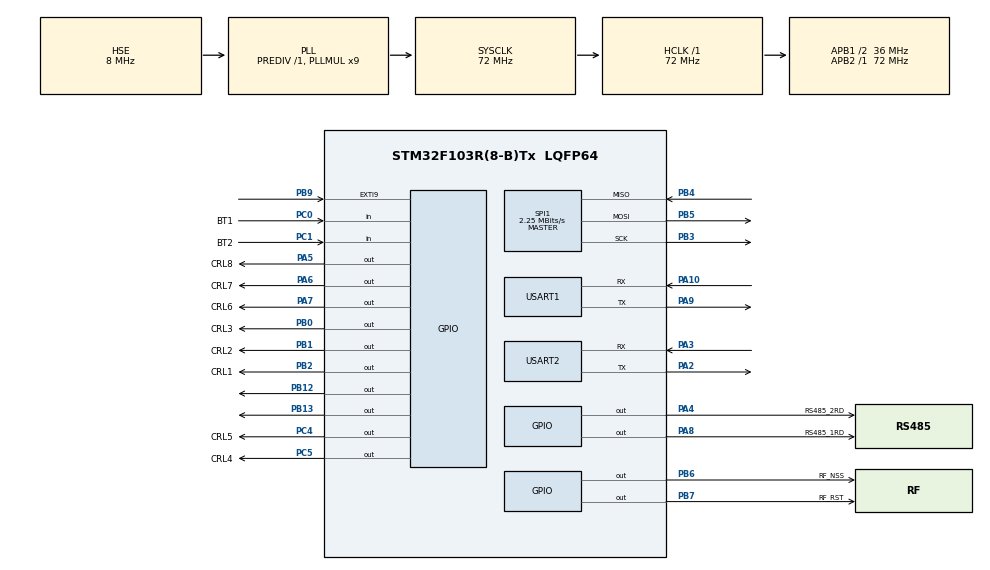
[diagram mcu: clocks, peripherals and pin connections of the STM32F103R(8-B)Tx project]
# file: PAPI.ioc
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Dma.Request0=USART2_RX
Dma.Request1=USART1_RX
Dma.USART1_RX.1.Direction=DMA_PERIPH_TO_MEMORY
Dma.USART1_RX.1.Instance=DMA1_Channel5
Dma.USART1_RX.1.MemDataAlignment=DMA_MDATAALIGN_BYTE
Dma.USART1_RX.1.MemInc=DMA_MINC_ENABLE
Dma.USART1_RX.1.Mode=DMA_NORMAL
Dma.USART1_RX.1.PeriphDataAlignment=DMA_PDATAALIGN_BYTE
Dma.USART1_RX.1.PeriphInc=DMA_PINC_DISABLE
Dma.USART1_RX.1.Priority=DMA_PRIORITY_LOW
Dma.USART2_RX.0.Direction=DMA_PERIPH_TO_MEMORY
Dma.USART2_RX.0.Instance=DMA1_Channel6
Dma.USART2_RX.0.MemDataAlignment=DMA_MDATAALIGN_BYTE
Dma.USART2_RX.0.MemInc=DMA_MINC_ENABLE
Dma.USART2_RX.0.Mode=DMA_NORMAL
Dma.USART2_RX.0.PeriphDataAlignment=DMA_PDATAALIGN_BYTE
Dma.USART2_RX.0.PeriphInc=DMA_PINC_DISABLE
Dma.USART2_RX.0.Priority=DMA_PRIORITY_LOW
Mcu.Family=STM32F1
Mcu.Name=STM32F103R(8-B)Tx
Mcu.Package=LQFP64
NVIC.DMA1_Channel5_IRQn=true\:0\:0\:false\:false\:true\:true
NVIC.DMA1_Channel6_IRQn=true\:0\:0\:false\:false\:true\:true
NVIC.PriorityGroup=NVIC_PRIORITYGROUP_4
NVIC.TIM1_BRK_IRQn=true\:0\:0\:false\:false\:true\:true
NVIC.TIM1_CC_IRQn=true\:0\:0\:false\:false\:true\:true
NVIC.TIM1_TRG_COM_IRQn=true\:0\:0\:false\:false\:true\:true
NVIC.TIM1_UP_IRQn=true\:0\:0\:false\:false\:true\:true
NVIC.TIM3_IRQn=true\:0\:0\:false\:false\:true\:true
NVIC.USART1_IRQn=true\:0\:0\:false\:false\:true\:true
NVIC.USART2_IRQn=true\:0\:0\:false\:false\:true\:true
PA10.Mode=Asynchronous
PA10.Signal=USART1_RX
PA13.Mode=Serial_Wire
PA13.Signal=SYS_JTMS-SWDIO
PA14.Mode=Serial_Wire
PA14.Signal=SYS_JTCK-SWCLK
PA2.Mode=Asynchronous
PA2.Signal=USART2_TX
PA3.Mode=Asynchronous
PA3.Signal=USART2_RX
PA4.GPIO_Label=RS485_2RD
PA4.Signal=GPIO_Output
PA5.GPIO_Label=CRL8
PA5.Signal=GPIO_Output
PA6.GPIO_Label=CRL7
PA6.Signal=GPIO_Output
PA7.GPIO_Label=CRL6
PA7.Signal=GPIO_Output
PA8.GPIO_Label=RS485_1RD
PA8.Signal=GPIO_Output
PA9.Mode=Asynchronous
PA9.Signal=USART1_TX
PB0.GPIO_Label=CRL3
PB0.Signal=GPIO_Output
PB1.GPIO_Label=CRL2
PB1.Signal=GPIO_Output
PB12.Signal=GPIO_Output
PB13.Signal=GPIO_Output
PB2.GPIO_Label=CRL1
PB2.Signal=GPIO_Output
PB3.Mode=Full_Duplex_Master
PB3.Signal=SPI1_SCK
PB4.Mode=Full_Duplex_Master
PB4.Signal=SPI1_MISO
PB5.Mode=Full_Duplex_Master
PB5.Signal=SPI1_MOSI
PB6.GPIO_Label=RF_NSS
PB6.Signal=GPIO_Output
PB7.GPIO_Label=RF_RST
PB7.Signal=GPIO_Output
PB9.Signal=GPXTI9
PC0.GPIO_Label=BT1
PC0.Signal=GPIO_Input
PC1.GPIO_Label=BT2
PC1.Signal=GPIO_Input
PC4.GPIO_Label=CRL5
PC4.Signal=GPIO_Output
PC5.GPIO_Label=CRL4
PC5.Signal=GPIO_Output
PD0-OSC_IN.Mode=HSE-External-Oscillator
PD0-OSC_IN.Signal=RCC_OSC_IN
PD1-OSC_OUT.Mode=HSE-External-Oscillator
PD1-OSC_OUT.Signal=RCC_OSC_OUT
ProjectManager.HeapSize=0x200
ProjectManager.StackSize=0x400
ProjectManager.TargetToolchain=MDK-ARM V5
RCC.AHBFreq_Value=72000000
RCC.APB1CLKDivider=RCC_HCLK_DIV2
RCC.APB1Freq_Value=36000000
RCC.APB1TimFreq_Value=72000000
RCC.APB2Freq_Value=72000000
RCC.APB2TimFreq_Value=72000000
RCC.HCLKFreq_Value=72000000
RCC.PLLMUL=RCC_PLL_MUL9
RCC.PLLSourceVirtual=RCC_PLLSOURCE_HSE
RCC.SYSCLKFreq_VALUE=72000000
RCC.SYSCLKSource=RCC_SYSCLKSOURCE_PLLCLK
RCC.USBFreq_Value=72000000
SPI1.BaudRatePrescaler=SPI_BAUDRATEPRESCALER_32
SPI1.CalculateBaudRate=2.25 MBits/s
SPI1.Direction=SPI_DIRECTION_2LINES
SPI1.Mode=SPI_MODE_MASTER
SPI1.VirtualType=VM_MASTER
TIM1.AutoReloadPreload=TIM_AUTORELOAD_PRELOAD_ENABLE
TIM1.ClockDivision=TIM_CLOCKDIVISION_DIV1
TIM1.Period=1000
TIM1.Prescaler=32000
TIM1.TIM_MasterOutputTrigger=TIM_TRGO_ENABLE
TIM3.Period=1000
TIM3.Prescaler=32000
USART1.VirtualMode=VM_ASYNC
USART2.VirtualMode=VM_ASYNC
VP_TIM1_VS_ClockSourceINT.Mode=Internal
VP_TIM3_VS_ClockSourceINT.Mode=Internal
board=PAPI

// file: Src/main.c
/**
  ******************************************************************************
  * File Name          : main.c
  * Description        : Main program body
  ******************************************************************************
  ** This notice applies to any and all portions of this file
  * that are not between comment pairs USER CODE BEGIN and
  * USER CODE END. Other portions of this file, whether
  * inserted by the user or by software development tools
  * are owned by their respective copyright owners.
  *
  * COPYRIGHT(c) 2017 STMicroelectronics
  *
  * Redistribution and use in source and binary forms, with or without modification,
  * are permitted provided that the following conditions are met:
  *   1. Redistributions of source code must retain the above copyright notice,
  *      this list of conditions and the following disclaimer.
  *   2. Redistributions in binary form must reproduce the above copyright notice,
  *      this list of conditions and the following disclaimer in the documentation
  *      and/or other materials provided with the distribution.
  *   3. Neither the name of STMicroelectronics nor the names of its contributors
  *      may be used to endorse or promote products derived from this software
  *      without specific prior written permission.
  *
  * THIS SOFTWARE IS PROVIDED BY THE COPYRIGHT HOLDERS AND CONTRIBUTORS "AS IS"
  * AND ANY EXPRESS OR IMPLIED WARRANTIES, INCLUDING, BUT NOT LIMITED TO, THE
  * IMPLIED WARRANTIES OF MERCHANTABILITY AND FITNESS FOR A PARTICULAR PURPOSE ARE
  * DISCLAIMED. IN NO EVENT SHALL THE COPYRIGHT HOLDER OR CONTRIBUTORS BE LIABLE
  * FOR ANY DIRECT, INDIRECT, INCIDENTAL, SPECIAL, EXEMPLARY, OR CONSEQUENTIAL
  * DAMAGES (INCLUDING, BUT NOT LIMITED TO, PROCUREMENT OF SUBSTITUTE GOODS OR
  * SERVICES; LOSS OF USE, DATA, OR PROFITS; OR BUSINESS INTERRUPTION) HOWEVER
  * CAUSED AND ON ANY THEORY OF LIABILITY, WHETHER IN CONTRACT, STRICT LIABILITY,
  * OR TORT (INCLUDING NEGLIGENCE OR OTHERWISE) ARISING IN ANY WAY OUT OF THE USE
  * OF THIS SOFTWARE, EVEN IF ADVISED OF THE POSSIBILITY OF SUCH DAMAGE.
  *
  ******************************************************************************
  */
#include "main.h"
#include "tm1637.h"
#include "stm32f1xx_hal.h"

/* USER CODE BEGIN Includes */
#include "string.h"
/* USER CODE END Includes */

SPI_HandleTypeDef hspi1;

TIM_HandleTypeDef htim1;
TIM_HandleTypeDef htim3;

UART_HandleTypeDef huart1;
UART_HandleTypeDef huart2;
DMA_HandleTypeDef hdma_usart1_rx;
DMA_HandleTypeDef hdma_usart2_rx;

/* USER CODE BEGIN PV */
/* Private variables ---------------------------------------------------------*/
//enable/disable
#define ENABLE       1
#define DISABLE      0

uint32_t test1=0,t1=0,t2=0,bt_scan=0,tx1_count;
uint8_t UART_DATA[20];
uint8_t UART1_DATA[20];
char checku2=0,checku1=0;

char slave_debug = ENABLE;
#define DEBUG        'D'
#define MASTER       'M'
//#define SLAVE        'S'

#ifdef MASTER
	unsigned char typeOfdevice = MASTER; //'M' is master, 'S' is slave
	const unsigned char totalOfSlave = 2;// => slave 0, slave 1, slave 2
	unsigned char CurrentSlave = 0;
	unsigned char slave_com[totalOfSlave+1];// for checking communication between master and slave
	unsigned char slave_com_timeout[totalOfSlave+1];//// Phai cong 1 chu???
	unsigned char slave_error[totalOfSlave+1];// for checking slave's angle error
#endif

char idOfSlave = 2;

uint32_t time_to_check_slave = 5;
uint32_t time_to_check_sensor =5;//5s check sensor
uint32_t time_to_update_7seg = 0;
uint32_t flag_check_7seg = 1;

//printf("S>%03X-%03X-%02X-%02X-%02X<  ",rawx,rawy,buff_temp1,buff_temp2,lux);
unsigned char system_error = NO_ERR;
//sensor error
unsigned char sen_err;
//slave error
unsigned char sla_err;
int rawx,rawy,offsetrawx,offsetrawy;//SCA100
int deltax,deltay,abs_deltax,abs_deltay;
unsigned char buff_temp1,buff_temp2;//ds18b20
unsigned char lux;//cambienquang
float temp_ds1820;
uint8_t check=0;
uint32_t cnt;

const uint8_t digitToSegment[10] = {
 // XGFEDCBA
  0x3f,//0b00111111,    // 0
  0x06,//0b00000110,    // 1
  0x5b,//0b01011011,    // 2
  0x4f,//0b01001111,    // 3
  0x66,//0b01100110,    // 4
  0x6d,//0b01101101,    // 5
  0x7d,//0b01111101,    // 6
  0x07,//0b00000111,    // 7
  0x7f,//0b01111111,    // 8
  0x6f,//0b01101111,    // 9
  };

unsigned char seg_temp1,seg_temp2,seg_temp3,seg_temp4;
/* USER CODE END PV */

void SystemClock_Config(void);
static void MX_GPIO_Init(void);
static void MX_DMA_Init(void);
static void MX_USART1_UART_Init(void);
static void MX_USART2_UART_Init(void);
static void MX_TIM1_Init(void);
static void MX_SPI1_Init(void);
static void MX_TIM3_Init(void);

/* USER CODE BEGIN PFP */
/* Private function prototypes -----------------------------------------------*/
//check for lost sensor
uint8_t time_out_lost_signal = 5;// = 0 is lost sensor

unsigned char one_of_slave_err = 1;// 1 means contain an error

/* USER CODE END PFP */

int main(void)
{

  /* USER CODE BEGIN 1 */
	char temp_id;
  /* USER CODE END 1 */

  /* MCU Configuration----------------------------------------------------------*/

  /* Reset of all peripherals, Initializes the Flash interface and the Systick. */
  HAL_Init();

  /* Configure the system clock */
  SystemClock_Config();

  /* Initialize all configured peripherals */
  MX_GPIO_Init();
  MX_DMA_Init();
  MX_USART2_UART_Init();
  MX_USART1_UART_Init();
  MX_SPI1_Init();
  MX_TIM1_Init();
  MX_TIM3_Init();

  /* USER CODE BEGIN 2 */
	/*if (HAL_TIM_Base_Start(&htim1) != HAL_OK) {
        Error_Handler();
    }*/

  if (HAL_TIM_Base_Start_IT(&htim1) != HAL_OK) {
        Error_Handler();
    }
	if (HAL_TIM_Base_Start_IT(&htim3) != HAL_OK) {
        Error_Handler();
    }
	//cnt = __HAL_TIM_GET_COUNTER(&htim1);
	tm1637Init();
	tm1637SetBrightness(4);
	//tm1637DisplayDecimal(6969,2);
		// Err
	TM1637_Disp_Dot(0,0x79,0x50,0x50);
		// Err
	TM1637_Disp_Dot(0,0x79,0x50,0x50);
		// --
	TM1637_Disp_Dot(0,0x40,0x40,0);
	//RS4851 TX
	RS485_TX1;
	//RS485 2 REC
	HAL_GPIO_WritePin(GPIOA, GPIO_PIN_4, GPIO_PIN_RESET);
		if(typeOfdevice == MASTER)
		{
			printf("PAPI master!\r\n");
			slave_stt_init();
		}
		else
		{
			printf("PAPI slave :%d\r\n",idOfSlave);
			if(slave_debug ==  ENABLE) printf("Slave emulator is ENABLE\r\n");
		}
	HAL_UART_Receive_DMA(&huart2,UART_DATA,20);
	//HAL_UART_Receive_IT(&huart1,UART_DATA,20);
	HAL_UART_Receive_DMA(&huart1,UART1_DATA,10);
  /* USER CODE END 2 */

  /* Infinite loop */
  while (1)
  {

  /* USER CODE BEGIN 3 */
		//turn tx1 to rx mode
		if(tx1_count == ONTIME) {RS485_RX1;tx1_count = STOP;}//------------------------------------------------------------------
		//checking the button
		if(bt_scan > 200)//scaning the buttons after per 200ms--------------------------------------------------------------------------------
		{
			bt_scan = 0;
			if(!HAL_GPIO_ReadPin(BT1_GPIO_Port,BT1_Pin)) {RS485_TX1;printf("BT1\r\n");offsetrawx = rawx; offsetrawy = rawy;}
			if(!HAL_GPIO_ReadPin(BT2_GPIO_Port,BT2_Pin)) {RS485_TX1;printf("BT2\r\n");}
		}

		//if((time_to_check_sensor == ONTIME) && (error != ERR_COMMUN)&& (error != ERR_SLAVE))//<--------------------------------------------------------------------
		if(checku2 == ONTIME) {//<----------------------------------------------------------Checking sensor
			checku2 = STOP;
			//RS485_TX1;
			//printf("Sensor: %s\r\n",UART_DATA);
			find_data();
			//printf("S>%03X-%03X-%02X-%02X-%02X<, temp: %2.1f, check:%dr\n",rawx,rawy,buff_temp1,buff_temp2,lux,temp_ds1820,check);
			//RS485_TX1;
			//printf("rawx:%d, offsetrawx :%d,rawy:%d, offsetrawy:%d\r\n",rawx,offsetrawx,rawy,offsetrawy);
			deltax = rawx - offsetrawx;
			deltay = rawy - offsetrawy;
			if(deltax > 0) abs_deltax = deltax;
			else abs_deltax = -deltax;

			if(deltay > 0) abs_deltay = deltay;
			else abs_deltay = -deltay;
			//RS485_TX1;
			//printf("Dx: %d,Dy: %d\r\n",deltax,deltay);
			memset(UART_DATA,0,20);
			HAL_UART_Receive_DMA(&huart2,UART_DATA,20);

		}
		if(time_to_check_sensor == ONTIME)//<---------- always check sensor  <<<<< err1 & err2
		{
			if(time_out_lost_signal) time_out_lost_signal--;
			time_to_check_sensor = 5;// check sensor per every 5 seconds
			check_angle_err();
			if(time_out_lost_signal == 0)
			{
				sen_err = NO_SEN ;
				rawx = 444;
				rawy = 444;
				offsetrawx = 0;
				offsetrawy = 0;
				abs_deltay = 444;
				abs_deltax = 444;
			}
			#ifdef DEBUG
			RS485_TX1;
			if(sen_err == NO_SEN) printf("No sensor\r\n");
			else if(sen_err == ANG_ERR) printf("Sensor alarm\r\n");
			else if(sen_err == NO_ERR) printf("Sensor fine\r\n");
			#endif
			//if(system_error) HAL_GPIO_WritePin(CRL8_GPIO_Port, CRL8_Pin, GPIO_PIN_SET);//<-----------------------------co chuyen dc di cho khac ko
			//else HAL_GPIO_WritePin(CRL8_GPIO_Port, CRL8_Pin, GPIO_PIN_RESET);
		}

		#ifdef MASTER//<--------------------------------------------------------------------------------------------------------------------------------------

			if(time_to_check_slave == ONTIME)
				{

					time_to_check_slave = 4;// =5 means after 5s check again
					// giam timeout neu slave ko phan hoi
					if(slave_com_timeout[CurrentSlave]) slave_com_timeout[CurrentSlave] --;
					else {
									slave_com[CurrentSlave] = LOST_CON;
									sla_err = ERR_COMMUN;

									#ifdef DEBUG
									RS485_TX1;
									printf("Mat ket noi :%d-%d-%d\r\n",slave_com_timeout[0],slave_com_timeout[1],slave_com_timeout[2]);
									//MAT KET NOI SLAVE =>> ERR 3
									#endif
							}
					RS485_TX1;
					printf(">M0x%02X<",CurrentSlave++);
					if(CurrentSlave>totalOfSlave) CurrentSlave = 0; //fix total has only 3 slave

				}
		#endif

		if(flag_check_7seg == ONTIME)//<<<<----------------------------------------------------------------------------------------hien thi loi
		{
			flag_check_7seg = 2;//<-----------2s
			//if(system_error) HAL_GPIO_WritePin(CRL8_GPIO_Port, CRL8_Pin, GPIO_PIN_SET);
			//else HAL_GPIO_WritePin(CRL8_GPIO_Port, CRL8_Pin, GPIO_PIN_RESET);

			#ifdef MASTER

			RS485_TX1;
			printf("sen_err:%d;sla_err:%d\r\n",sen_err,sla_err);

			//No system_error
			if((sen_err == NO_ERR) && (sla_err == NO_ERR)) 	system_error = NO_ERR;
			//Err 1 : sensor of this lamp got trouble
			 if(sen_err == NO_SEN)											system_error = ERR_SENSOR ;
			// Err 2 : this lamp is wrong angle
			 if(sen_err == ANG_ERR) 										system_error = ERR_ANGLE  ;
			//Err 3 : lost connection to the slaves
			 if(sla_err == LOST_CON) 										system_error = ERR_COMMUN   ;
			// Err 4 : one or more of slaves got trouble
			 if(sla_err == ERR_SEN) 										system_error = ERR_SLAVE    ;
				#ifdef DEBUG
			RS485_TX1;
			if(system_error == NO_ERR) printf("system_error:NO_ERR\r\n");
			else if(system_error == ERR_SENSOR) printf("system_error:ERR_SENSOR\r\n");
			else if(system_error == ERR_ANGLE) printf("system_error:ERR_ANGLE\r\n");
			else if(system_error == ERR_COMMUN) printf("system_error:ERR_COMMUN\r\n");
			else if(system_error == ERR_SLAVE) printf("system_error:ERR_SLAVE\r\n");
				#endif
			#endif
			#ifdef SLAVE
			//No system_error
			if(sen_err == NO_ERR) 											system_error = NO_ERR;
			//Err 1 : sensor of this lamp got trouble
			else if(sen_err == NO_SEN)									system_error = ERR_SENSOR ;
			// Err 2 : this lamp is wrong angle
			else if(sen_err == ANG_ERR) 								system_error = ERR_ANGLE  ;
			#endif
			switch(time_to_update_7seg)
		{

			case 0:
							{
								// Err 1 : sensor of this lamp got trouble
								// Err 2 : this lamp is wrong angle
								// Err 3 : lost connection to the slaves
								// Err 4 : one or more of slaves got trouble
								if (system_error == ERR_SLAVE ) TM1637_Disp_Dot(0x79,0x50,0x50,0x66); //err4
								else if (system_error == ERR_COMMUN) TM1637_Disp_Dot(0x79,0x50,0x50,0x4f); //err3
								else if (system_error == ERR_ANGLE ) TM1637_Disp_Dot(0x79,0x50,0x50,0x5b); //err2
								else if	(system_error == ERR_SENSOR) TM1637_Disp_Dot(0x79,0x50,0x50,0x06); //err1
								else time_to_update_7seg = 2;
								break;
								/*
								if(time_out_lost_signal ==0)TM1637_Disp_Dot(0x79,0x50,0x50,0x06);//err1
								else if((one_of_slave_err == 1) &&(typeOfdevice ==MASTER))  TM1637_Disp_Dot(0x79,0x50,0x50,0x5b); //err2
								else if(system_error) TM1637_Disp_Dot(0,0x79,0x50,0x50);//err
								else time_to_update_7seg = 2;*/

							}
			case 3:
							{
								// --
								if(deltax<0) seg_temp1 = 0xC0;
								else seg_temp1 = 0x80;
								//TM1637_Disp_Dot(seg_temp1,seg_temp2,seg_temp3,seg_temp4);
								seg_temp2 = abs_deltax/100;
								seg_temp4 = abs_deltax%10;
								seg_temp3 = abs_deltax%100;
								seg_temp3 = seg_temp3/10;

								TM1637_Disp_Dot(seg_temp1,digitToSegment[seg_temp2],digitToSegment[seg_temp3],digitToSegment[seg_temp4]);

								//time_to_update_7seg++;
								break;
							}
			case 7:
							{
								if(deltay<0) seg_temp1 = 0x40;
								else seg_temp1 = 0;
								//TM1637_Disp_Dot(seg_temp1,seg_temp2,seg_temp3,seg_temp4);
								seg_temp2 = abs_deltay/100;
								seg_temp4 = abs_deltay%10;
								seg_temp3 = abs_deltay%100;
								seg_temp3 = seg_temp3/10;
								TM1637_Disp_Dot(seg_temp1,digitToSegment[seg_temp2],digitToSegment[seg_temp3],digitToSegment[seg_temp4]);

								break;
							}

		}

			time_to_update_7seg++;
			if(time_to_update_7seg > 10) time_to_update_7seg = 0;
		}

		//if(checku2 ==1) {test1 = 50;checku2=0;}
		//time out for receiver enough data from U1 485
		if(checku1 == ONTIME) {//------------SLAVE, MASTER...
			checku1 = STOP;

			//RS485_TX1;
			//printf("U1RX:'%s'\r\n",UART1_DATA);

			#ifdef SLAVE
				if((UART1_DATA[0] =='>') && (UART1_DATA[1] == 'M') && (UART1_DATA[5] == (48+idOfSlave)) && (UART1_DATA[6] =='<'))
				{
					RS485_TX1;
					printf(">S0x%02X%02X<",idOfSlave,sen_err);
				}
				memset(UART1_DATA,' ',7);
				HAL_UART_Receive_DMA(&huart1,UART1_DATA,7);
			#endif

			#ifdef MASTER
				//check for right data from slave only master--> check for err4
				if((UART1_DATA[0] =='>') && (UART1_DATA[1] == 'S') && (UART1_DATA[8] =='<'))
				{
					temp_id = UART1_DATA[5] - 48;//get id
					slave_com[temp_id] = NO_ERR;// normal connection
					slave_com_timeout[temp_id] = 10;

					if			(UART1_DATA[7] == (NO_ERR			+48)) {
																												slave_error[temp_id] = NO_ERR;
																												//all of slaves must be no err
																												if((slave_error[0] == NO_ERR) && (slave_error[1] == NO_ERR) && (slave_error[2] == NO_ERR)) sla_err = NO_ERR ;
																											}
					else if	(UART1_DATA[7] == (ERR_SENSOR	+48)) {	slave_error[temp_id] = ERR_SENSOR ;sla_err = ERR_SLAVE ; }//TM1637_Disp_Dot(0x79,0x50,0x50,0x66); time_to_update_7seg = 0;}
					else if	(UART1_DATA[7] == (ERR_ANGLE	+48)) {	slave_error[temp_id] = ERR_ANGLE  ;sla_err = ERR_SLAVE ; }//TM1637_Disp_Dot(0x79,0x50,0x50,0x66); time_to_update_7seg = 0;}
					//else {slave_error[temp_id] = ERR_COMMUN ;error = ERR_SLAVE ;TM1637_Disp_Dot(0x79,0x50,0x50,0x66); time_to_update_7seg = 0;}
					#ifdef DEBUG
					RS485_TX1;
					if(	slave_error[temp_id] == NO_ERR) printf("Slave %d NO_ERR,sla_err:%d\r\n",temp_id,sla_err);
					else if(	slave_error[temp_id] == ERR_SENSOR) printf("Slave %d ERR_SENSOR,sla_err:%d\r\n",temp_id,sla_err);
					else if(	slave_error[temp_id] == ERR_ANGLE) printf("Slave %d ERR_ANGLE,sla_err:%d\r\n",temp_id,sla_err);
					#endif
					//system_error = 1;
					//printf("temp_id:%d!\r\n",temp_id);
					//one_of_slave_err = 1;
					//slave_com[i] = LOST_CON;
					//slave_error[i] = ANG_ERR;
				}
				//>>>> Neu no ko vao day thi uart bi tat????>> phai co cach bat no len???check no neu ko vao day thi tu bat no len
				memset(UART1_DATA,0,9);
				HAL_UART_Receive_DMA(&huart1,UART1_DATA,9);
			#endif

		}

  }
  /* USER CODE END 3 */

}

/** System Clock Configuration
*/
void SystemClock_Config(void)
{

  RCC_OscInitTypeDef RCC_OscInitStruct;
  RCC_ClkInitTypeDef RCC_ClkInitStruct;

    /**Initializes the CPU, AHB and APB busses clocks
    */
  RCC_OscInitStruct.OscillatorType = RCC_OSCILLATORTYPE_HSE;
  RCC_OscInitStruct.HSEState = RCC_HSE_ON;
  RCC_OscInitStruct.HSEPredivValue = RCC_HSE_PREDIV_DIV1;
  RCC_OscInitStruct.HSIState = RCC_HSI_ON;
  RCC_OscInitStruct.PLL.PLLState = RCC_PLL_ON;
  RCC_OscInitStruct.PLL.PLLSource = RCC_PLLSOURCE_HSE;
  RCC_OscInitStruct.PLL.PLLMUL = RCC_PLL_MUL9;
  if (HAL_RCC_OscConfig(&RCC_OscInitStruct) != HAL_OK)
  {
    _Error_Handler(__FILE__, __LINE__);
  }

    /**Initializes the CPU, AHB and APB busses clocks
    */
  RCC_ClkInitStruct.ClockType = RCC_CLOCKTYPE_HCLK|RCC_CLOCKTYPE_SYSCLK
                              |RCC_CLOCKTYPE_PCLK1|RCC_CLOCKTYPE_PCLK2;
  RCC_ClkInitStruct.SYSCLKSource = RCC_SYSCLKSOURCE_PLLCLK;
  RCC_ClkInitStruct.AHBCLKDivider = RCC_SYSCLK_DIV1;
  RCC_ClkInitStruct.APB1CLKDivider = RCC_HCLK_DIV2;
  RCC_ClkInitStruct.APB2CLKDivider = RCC_HCLK_DIV1;

  if (HAL_RCC_ClockConfig(&RCC_ClkInitStruct, FLASH_LATENCY_2) != HAL_OK)
  {
    _Error_Handler(__FILE__, __LINE__);
  }

    /**Configure the Systick interrupt time
    */
  HAL_SYSTICK_Config(HAL_RCC_GetHCLKFreq()/1000);

    /**Configure the Systick
    */
  HAL_SYSTICK_CLKSourceConfig(SYSTICK_CLKSOURCE_HCLK);

  /* SysTick_IRQn interrupt configuration */
  HAL_NVIC_SetPriority(SysTick_IRQn, 0, 0);
}

/* SPI1 init function */
static void MX_SPI1_Init(void)
{

  hspi1.Instance = SPI1;
  hspi1.Init.Mode = SPI_MODE_MASTER;
  hspi1.Init.Direction = SPI_DIRECTION_2LINES;
  hspi1.Init.DataSize = SPI_DATASIZE_8BIT;
  hspi1.Init.CLKPolarity = SPI_POLARITY_LOW;
  hspi1.Init.CLKPhase = SPI_PHASE_1EDGE;
  hspi1.Init.NSS = SPI_NSS_SOFT;
  hspi1.Init.BaudRatePrescaler = SPI_BAUDRATEPRESCALER_32;
  hspi1.Init.FirstBit = SPI_FIRSTBIT_MSB;
  hspi1.Init.TIMode = SPI_TIMODE_DISABLE;
  hspi1.Init.CRCCalculation = SPI_CRCCALCULATION_DISABLE;
  hspi1.Init.CRCPolynomial = 10;
  if (HAL_SPI_Init(&hspi1) != HAL_OK)
  {
    _Error_Handler(__FILE__, __LINE__);
  }

}

/* TIM1 init function */
static void MX_TIM1_Init(void)
{

  TIM_ClockConfigTypeDef sClockSourceConfig;
  TIM_MasterConfigTypeDef sMasterConfig;
	// making 1s
  htim1.Instance = TIM1;
  htim1.Init.Prescaler = 1124;
  htim1.Init.CounterMode = TIM_COUNTERMODE_UP;
  htim1.Init.Period = 63999;
  htim1.Init.ClockDivision = TIM_CLOCKDIVISION_DIV1;
  htim1.Init.RepetitionCounter = 0;
  htim1.Init.AutoReloadPreload = TIM_AUTORELOAD_PRELOAD_ENABLE;
  if (HAL_TIM_Base_Init(&htim1) != HAL_OK)
  {
    _Error_Handler(__FILE__, __LINE__);
  }

  sClockSourceConfig.ClockSource = TIM_CLOCKSOURCE_INTERNAL;
  if (HAL_TIM_ConfigClockSource(&htim1, &sClockSourceConfig) != HAL_OK)
  {
    _Error_Handler(__FILE__, __LINE__);
  }

  sMasterConfig.MasterOutputTrigger = TIM_TRGO_ENABLE;
  sMasterConfig.MasterSlaveMode = TIM_MASTERSLAVEMODE_DISABLE;
  if (HAL_TIMEx_MasterConfigSynchronization(&htim1, &sMasterConfig) != HAL_OK)
  {
    _Error_Handler(__FILE__, __LINE__);
  }

}

/* TIM3 init function */
static void MX_TIM3_Init(void)
{

  TIM_ClockConfigTypeDef sClockSourceConfig;
  TIM_MasterConfigTypeDef sMasterConfig;
	//making 1ms
  htim3.Instance = TIM3;
  htim3.Init.Prescaler = 35999;
  htim3.Init.CounterMode = TIM_COUNTERMODE_UP;
  htim3.Init.Period = 1;
  htim3.Init.ClockDivision = TIM_CLOCKDIVISION_DIV1;
  htim3.Init.AutoReloadPreload = TIM_AUTORELOAD_PRELOAD_DISABLE;
  if (HAL_TIM_Base_Init(&htim3) != HAL_OK)
  {
    _Error_Handler(__FILE__, __LINE__);
  }

  sClockSourceConfig.ClockSource = TIM_CLOCKSOURCE_INTERNAL;
  if (HAL_TIM_ConfigClockSource(&htim3, &sClockSourceConfig) != HAL_OK)
  {
    _Error_Handler(__FILE__, __LINE__);
  }

  sMasterConfig.MasterOutputTrigger = TIM_TRGO_RESET;
  sMasterConfig.MasterSlaveMode = TIM_MASTERSLAVEMODE_DISABLE;
  if (HAL_TIMEx_MasterConfigSynchronization(&htim3, &sMasterConfig) != HAL_OK)
  {
    _Error_Handler(__FILE__, __LINE__);
  }

}

/* USART1 init function */
static void MX_USART1_UART_Init(void)
{

  huart1.Instance = USART1;
  huart1.Init.BaudRate = 115200;
  huart1.Init.WordLength = UART_WORDLENGTH_8B;
  huart1.Init.StopBits = UART_STOPBITS_1;
  huart1.Init.Parity = UART_PARITY_NONE;
  huart1.Init.Mode = UART_MODE_TX_RX;
  huart1.Init.HwFlowCtl = UART_HWCONTROL_NONE;
  huart1.Init.OverSampling = UART_OVERSAMPLING_16;
  if (HAL_UART_Init(&huart1) != HAL_OK)
  {
    _Error_Handler(__FILE__, __LINE__);
  }

}

/* USART2 init function */
static void MX_USART2_UART_Init(void)
{

  huart2.Instance = USART2;
  huart2.Init.BaudRate = 115200;
  huart2.Init.WordLength = UART_WORDLENGTH_8B;
  huart2.Init.StopBits = UART_STOPBITS_1;
  huart2.Init.Parity = UART_PARITY_NONE;
  huart2.Init.Mode = UART_MODE_TX_RX;
  huart2.Init.HwFlowCtl = UART_HWCONTROL_NONE;
  huart2.Init.OverSampling = UART_OVERSAMPLING_16;
  if (HAL_UART_Init(&huart2) != HAL_OK)
  {
    _Error_Handler(__FILE__, __LINE__);
  }

}

static void MX_DMA_Init(void)
{
  /* DMA controller clock enable */
  __HAL_RCC_DMA1_CLK_ENABLE();

  /* DMA interrupt init */
  /* DMA1_Channel5_IRQn interrupt configuration */
  HAL_NVIC_SetPriority(DMA1_Channel5_IRQn, 0, 0);
  HAL_NVIC_EnableIRQ(DMA1_Channel5_IRQn);
  /* DMA1_Channel6_IRQn interrupt configuration */
  HAL_NVIC_SetPriority(DMA1_Channel6_IRQn, 0, 0);
  HAL_NVIC_EnableIRQ(DMA1_Channel6_IRQn);

}

/** Configure pins as
        * Analog
        * Input
        * Output
        * EVENT_OUT
        * EXTI
*/
static void MX_GPIO_Init(void)
{

  GPIO_InitTypeDef GPIO_InitStruct;

  /* GPIO Ports Clock Enable */
  __HAL_RCC_GPIOD_CLK_ENABLE();
  __HAL_RCC_GPIOC_CLK_ENABLE();
  __HAL_RCC_GPIOA_CLK_ENABLE();
  __HAL_RCC_GPIOB_CLK_ENABLE();

  /*Configure GPIO pin Output Level */
  HAL_GPIO_WritePin(GPIOA, RS485_2RD_Pin|CRL8_Pin|CRL7_Pin|CRL6_Pin
                          |RS485_1RD_Pin, GPIO_PIN_RESET);

  /*Configure GPIO pin Output Level */
  HAL_GPIO_WritePin(GPIOC, CRL5_Pin|CRL4_Pin, GPIO_PIN_RESET);

  /*Configure GPIO pin Output Level */
  HAL_GPIO_WritePin(GPIOB, CRL3_Pin|CRL2_Pin|CRL1_Pin|GPIO_PIN_12
                          |GPIO_PIN_13|RF_NSS_Pin|RF_RST_Pin, GPIO_PIN_RESET);

  /*Configure GPIO pins : BT1_Pin BT2_Pin */
  GPIO_InitStruct.Pin = BT1_Pin|BT2_Pin;
  GPIO_InitStruct.Mode = GPIO_MODE_INPUT;
  GPIO_InitStruct.Pull = GPIO_NOPULL;
  HAL_GPIO_Init(GPIOC, &GPIO_InitStruct);

  /*Configure GPIO pins : RS485_2RD_Pin CRL8_Pin CRL7_Pin CRL6_Pin
                           RS485_1RD_Pin */
  GPIO_InitStruct.Pin = RS485_2RD_Pin|CRL8_Pin|CRL7_Pin|CRL6_Pin
                          |RS485_1RD_Pin;
  GPIO_InitStruct.Mode = GPIO_MODE_OUTPUT_PP;
  GPIO_InitStruct.Speed = GPIO_SPEED_FREQ_LOW;
  HAL_GPIO_Init(GPIOA, &GPIO_InitStruct);

  /*Configure GPIO pins : CRL5_Pin CRL4_Pin */
  GPIO_InitStruct.Pin = CRL5_Pin|CRL4_Pin;
  GPIO_InitStruct.Mode = GPIO_MODE_OUTPUT_PP;
  GPIO_InitStruct.Speed = GPIO_SPEED_FREQ_LOW;
  HAL_GPIO_Init(GPIOC, &GPIO_InitStruct);

  /*Configure GPIO pins : CRL3_Pin CRL2_Pin CRL1_Pin PB12
                           PB13 RF_NSS_Pin RF_RST_Pin */
  GPIO_InitStruct.Pin = CRL3_Pin|CRL2_Pin|CRL1_Pin|GPIO_PIN_12
                          |GPIO_PIN_13|RF_NSS_Pin|RF_RST_Pin;
  GPIO_InitStruct.Mode = GPIO_MODE_OUTPUT_PP;
  GPIO_InitStruct.Speed = GPIO_SPEED_FREQ_LOW;
  HAL_GPIO_Init(GPIOB, &GPIO_InitStruct);

  /*Configure GPIO pin : PB9 */
  GPIO_InitStruct.Pin = GPIO_PIN_9;
  GPIO_InitStruct.Mode = GPIO_MODE_IT_RISING;
  GPIO_InitStruct.Pull = GPIO_NOPULL;
  HAL_GPIO_Init(GPIOB, &GPIO_InitStruct);

}

/* USER CODE BEGIN 4 */
void HAL_TIM_PeriodElapsedCallback(TIM_HandleTypeDef *htim)
{
	if(htim->Instance == htim3.Instance )//1ms
	{
		//HAL_GPIO_TogglePin(GPIOB,CRL3_Pin);
		bt_scan++;
		t1++;t2++;
		if(checku2 > ONTIME ) checku2--;//rx2 time out
		if(checku1 > ONTIME ) checku1--;//rx1 time out
		if(tx1_count > ONTIME) tx1_count--;//control tx1 rs485
	}
	if(htim->Instance == htim1.Instance )//1s
	{
		//HAL_GPIO_TogglePin(GPIOB,CRL2_Pin);
		if(time_to_check_slave > ONTIME) time_to_check_slave--;
		if(time_to_check_sensor > ONTIME) time_to_check_sensor--;
		if(flag_check_7seg > ONTIME) flag_check_7seg--;

		//time_to_update_7seg ++;
	}
}
// Boc tach du lieu tu cam bien gui ve
void find_data(void)
{
	uint8_t temp1,temp2,temp3;

	if((UART_DATA[0] == 'S') &&(UART_DATA[18] == '<'))
	{
		time_out_lost_signal = 5;//<--------------------------------------------------------------

		temp1 = HEXInStringToDec(UART_DATA[2]);
		temp2 = HEXInStringToDec(UART_DATA[3]);
		temp3 = HEXInStringToDec(UART_DATA[4]);
		rawx = (temp1<<8) + (temp2<<4) + temp3;

		temp1 = HEXInStringToDec(UART_DATA[6]);
		temp2 = HEXInStringToDec(UART_DATA[7]);
		temp3 = HEXInStringToDec(UART_DATA[8]);
		rawy = (temp1<<8) + (temp2<<4) + temp3;

		temp1 = HEXInStringToDec(UART_DATA[10]);
		temp2 = HEXInStringToDec(UART_DATA[11]);
		buff_temp1 = (temp1<<4) + temp2;

		temp1 = HEXInStringToDec(UART_DATA[13]);
		temp2 = HEXInStringToDec(UART_DATA[14]);
		buff_temp2 = (temp1<<4) + temp2;

		temp1 = HEXInStringToDec(UART_DATA[16]);
		temp2 = HEXInStringToDec(UART_DATA[17]);
		lux = (temp1<<4) + temp2;

		temp_ds1820 = ((float)(buff_temp1&0x0f))/16;            // Lay phan thuc cua gia tri nhiet
		buff_temp1 =((buff_temp1&0xf0)>>4)|((buff_temp2&0x0f)<<4) ;    // Lay phan nguyen cua gia tri nhiet do

		temp_ds1820=temp_ds1820+buff_temp1;
	}

}
unsigned char HEXInStringToDec(unsigned char data)
      {
            if((data>47)&&(data<58)) return (data-48);// 0...9
            else if((data>63)&&(data<71)) return (data-55);//A..F
						else return 0;
      }

void check_angle_err(void)
{
	if((offsetrawx - rawx) > 7 )      sen_err = ANG_ERR;// goc x nho hon -0.25 do
	else if((rawx - offsetrawx) > 14) sen_err = ANG_ERR; //goc x lon hon 0.5 do
	else if((offsetrawy - rawy) > 7)  sen_err = ANG_ERR; //goc y nho hon -0.25 do
	else if((rawy - offsetrawy) > 14) sen_err = ANG_ERR; //goc y lon hon 0.5 do
	else sen_err = NO_ERR;
}

void slave_stt_init(void)
{
	char i;
	for(i=0;i<totalOfSlave+1;i++)
	{
		slave_com[i] 					= NO_ERR;	//Ket noi binh thuong
		slave_error[i] 				= NO_ERR;	// goc nghieng binh thong
		slave_com_timeout[i] 	= 5;			// timeout ket noi
	}
	//RS485_TX1;
	//printf("slave_com_timeout:%d-%d-%d\r\n",slave_com_timeout[0],slave_com_timeout[1],slave_com_timeout[2]);
	//printf("slave_error:%d-%d-%d\r\n",slave_error[0],slave_error[1],slave_error[2]);
	//printf("slave_com:%d-%d-%d\r\n",slave_com[0],slave_com[1],slave_com[2]);
}

#ifdef __GNUC__
  /* With GCC/RAISONANCE, small printf (option LD Linker->Libraries->Small printf
     set to 'Yes') calls __io_putchar() */
  #define PUTCHAR_PROTOTYPE int __io_putchar(int ch)
#else
  #define PUTCHAR_PROTOTYPE int fputc(int ch, FILE *f)
#endif /* __GNUC__ */

/**
  * @brief  Retargets the C library printf function to the USART.
  * @param  None
  * @retval None
  */
PUTCHAR_PROTOTYPE
{
	/* Place your implementation of fputc here */
	/* e.g. write a character to the USART */
	HAL_UART_Transmit(&huart1, (uint8_t *)&ch, 1, 100);
	tx1_count = 3;
	return ch;
}

/* USER CODE END 4 */

void _Error_Handler(char * file, int line)
{
  while(1)
  {
  }
}

/************************ (C) COPYRIGHT STMicroelectronics *****END OF FILE****/
